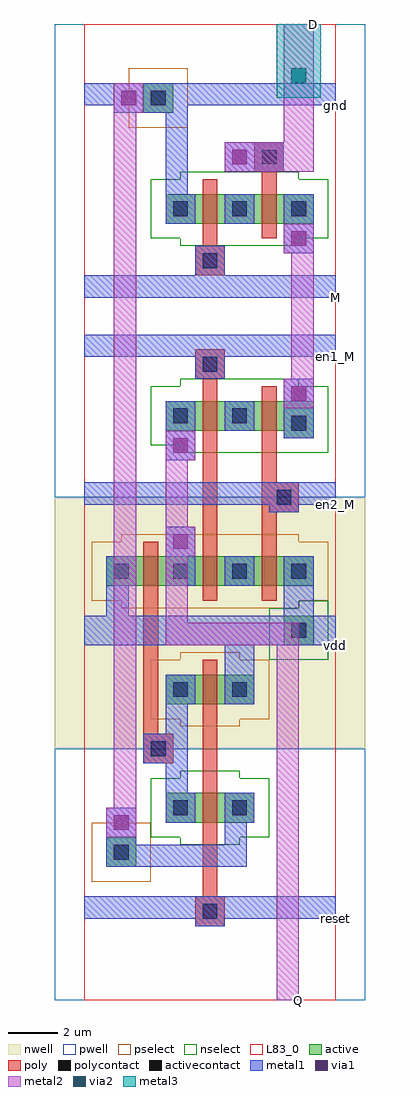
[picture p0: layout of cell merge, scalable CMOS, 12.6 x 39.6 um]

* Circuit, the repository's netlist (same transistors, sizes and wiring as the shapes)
.SUBCKT merge D Q en1_M en2_M reset M vdd gnd
M1 net_1 M gnd gnd n w=1.2u l=0.6u 
M2 net_2 D net_1 gnd n w=1.2u l=0.6u  
M3 net_3 en2_M net_2 gnd n w=1.2u l=0.6u  
M4 Q en1_M net_3 gnd n w=1.2u l=0.6u  
M5 Q en1_M net_5 vdd p w=1.2u l=0.6u
M6 vdd en2_M net_5 vdd p w=1.2u l=0.6u    
M7 reset_bar reset vdd vdd p w=1.2u l=0.6u
M8 reset_bar reset gnd gnd n w=1.2u l=0.6u
M9 Q reset_bar vdd vdd p w=1.2u l=0.6u
.ENDS merge

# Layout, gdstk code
import gdstk
lib = gdstk.Library(unit=1e-6, precision=1e-09)
def R(c, l, rs):  # rectangles x0, y0, x1, y1
    for r in rs: c.add(gdstk.rectangle(r[:2], r[2:], *l))
def A(c, l, x, y, w, h, nx, ny, dx, dy):  # array of equal rectangles
    R(c, l, [(x+i*dx, y+j*dy, x+i*dx+w, y+j*dy+h) for i in range(nx) for j in range(ny)])
pwell = (41, 0)
nwell = (42, 0)
active = (43, 0)
pselect = (44, 0)
nselect = (45, 0)
poly = (46, 0)
polycontact = (47, 0)
activecontact = (48, 0)
metal1 = (49, 0)
via1 = (50, 0)
metal2 = (51, 0)
via2 = (61, 0)
metal3 = (62, 0)
L83_0 = (83, 0)

merge = lib.new_cell('merge')
R(merge, pwell, [(-1.2,0,11.4,10.2), (-1.2,20.4,11.4,39.6)])
R(merge, nwell, [(-1.2,10.2,11.4,20.4)])
R(merge, active, [(0.9,5.4,2.1,6.6), (3.3,7.2,6.9,8.4), (3.3,12,6.9,13.2), (8.1,14.4,9.3,15.6), (0.9,16.8,9.3,18), (8.1,22.8,9.3,23.1), (3.3,23.1,9.3,24.3), (3.3,31.5,9.3,32.7), (2.4,36,3.6,37.2)])
R(merge, pselect, [(0.3,4.8,2.7,7.2), (3.9,11.1,6.3,11.4), (2.7,11.4,7.5,13.8), (3.9,13.8,6.3,14.1), (1.5,15.9,8.7,16.2), (0.3,16.2,9.9,18.6), (1.5,18.6,8.7,18.9), (1.8,35.4,4.2,37.8)])
R(merge, nselect, [(3.9,6.3,6.3,6.6), (2.7,6.6,7.5,9), (3.9,9,6.3,9.3), (7.5,13.8,9.9,15.9), (8.7,15.9,9.9,16.2), (3.9,22.2,9.9,22.5), (2.7,22.5,9.9,24.9), (3.9,24.9,8.7,25.2), (3.9,30.6,8.7,30.9), (2.7,30.9,9.9,33.3), (3.9,33.3,8.7,33.6)])
R(merge, poly, [(4.5,3,5.7,4.2), (4.8,4.2,5.4,13.8), (2.4,9.6,3.6,10.8), (2.4,10.8,3,18.6), (4.8,16.2,5.4,25.2), (7.2,16.2,7.8,19.8), (7.2,19.8,8.7,21), (7.2,21,7.8,24.9), (4.5,25.2,5.7,26.4), (4.5,29.4,5.7,30.6), (4.8,30.6,5.4,33.3), (7.2,30.9,7.8,33.6), (6.9,33.6,8.1,34.8)])
R(merge, polycontact, [(4.8,3.3,5.4,3.9), (2.7,9.9,3.3,10.5), (7.8,20.1,8.4,20.7), (4.8,25.5,5.4,26.1), (4.8,29.7,5.4,30.3), (7.2,33.9,7.8,34.5)])
A(merge, activecontact, 1.2, 17.1, 0.6, 0.6, 4, 1, 2.4, 0)
A(merge, activecontact, 3.6, 31.8, 0.6, 0.6, 3, 1, 2.4, 0)
R(merge, activecontact, [(1.2,5.7,1.8,6.3), (3.6,7.5,4.2,8.1), (6,7.5,6.6,8.1), (3.6,12.3,4.2,12.9), (6,12.3,6.6,12.9), (8.4,14.7,9,15.3), (8.4,23.1,9,23.7), (3.6,23.4,4.2,24), (6,23.4,6.6,24), (2.7,36.3,3.3,36.9)])
R(merge, metal1, [(4.5,3,5.7,3.3), (0,3.3,10.2,4.2), (0.9,5.4,6.6,6.3), (0.9,6.3,2.1,7.8), (5.7,6.3,6.6,7.2), (3.3,7.2,4.5,8.4), (5.7,7.2,6.9,8.4), (3.3,8.4,4.2,9.6), (2.4,9.6,4.2,10.8), (3.3,10.8,4.2,12), (3.3,12,4.5,13.2), (5.7,12,6.9,14.4), (0,14.4,10.2,15.6), (0.9,15.6,1.8,16.8), (8.1,15.6,9.3,18), (0.9,16.8,2.1,18), (3.3,16.8,4.5,19.2), (5.7,16.8,6.9,18), (7.5,19.8,8.7,20.1), (0,20.1,10.2,21), (3.3,21.9,4.5,24.3), (8.1,22.8,9.3,25.2), (5.7,23.1,6.9,24.3), (4.5,25.2,5.7,26.1), (0,26.1,10.2,27), (0,28.5,10.2,29.4), (4.5,29.4,5.7,30.6), (8.1,30.3,9.3,32.7), (3.3,31.5,4.5,32.7), (5.7,31.5,6.9,32.7), (3.3,32.7,4.2,36), (5.7,33.6,8.1,34.8), (1.2,36,4.2,36.3), (0,36.3,10.2,37.2)])
R(merge, via1, [(1.2,6.9,1.8,7.5), (3.6,18.3,4.2,18.9), (3.6,22.2,4.2,22.8), (8.4,24.3,9,24.9), (8.4,30.6,9,31.2), (6,33.9,6.6,34.5), (1.5,36.3,2.1,36.9)])
R(merge, metal2, [(7.8,0,8.7,14.4), (0.9,6.6,2.1,7.8), (1.2,7.8,2.1,36), (3.3,14.4,8.7,15.3), (3.3,15.3,4.2,18), (3.3,18,4.5,19.2), (3.3,19.2,4.2,21.9), (3.3,21.9,4.5,23.1), (8.1,24,9.3,25.2), (8.4,25.2,9.3,30.3), (8.1,30.3,9.3,31.5), (5.7,33.6,9.3,34.8), (8.1,34.8,9.3,39.6), (1.2,36,2.4,37.2)])
R(merge, via2, [(8.4,37.2,9,37.8)])
R(merge, metal3, [(7.8,36.6,9.6,39.6)])
R(merge, L83_0, [(0,0,10.2,39.6)])
merge.add(gdstk.Label('reset', (10.2,3.3), layer=49, texttype=0))
merge.add(gdstk.Label('Q', (8.7,0), layer=51, texttype=0))
merge.add(gdstk.Label('en2_M', (10.2,20.1), layer=49, texttype=0))
merge.add(gdstk.Label('M', (10.2,28.5), layer=49, texttype=0))
merge.add(gdstk.Label('gnd', (10.2,36.3), layer=49, texttype=0))
merge.add(gdstk.Label('vdd', (10.2,14.4), layer=49, texttype=0))
merge.add(gdstk.Label('en1_M', (10.2,26.1), layer=49, texttype=0))
merge.add(gdstk.Label('D', (9.3,39.6), layer=51, texttype=0))

lib.write_gds('merge.gds')
